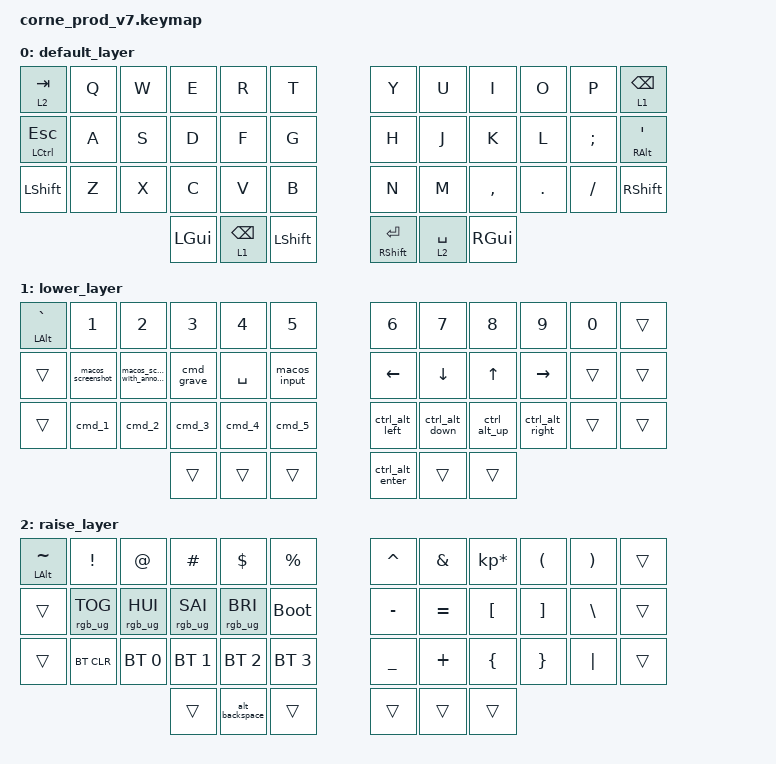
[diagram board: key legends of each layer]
/*
 * Copyright (c) 2020 The ZMK Contributors
 *
 * SPDX-License-Identifier: MIT
 *
 * Reference: https://zmk.dev/docs/keymaps/behaviors/key-press
 *
 */

#include <behaviors.dtsi>
#include <dt-bindings/zmk/keys.h>
#include <dt-bindings/zmk/bt.h>
#include <dt-bindings/zmk/rgb.h>

&led_strip {
    chain-length = <27>;
};

// Define the custom macro
// reference: https://zmk.dev/docs/keymaps/behaviors/macros
/ {
    macros {
        // switch input method
        macos_input: macos_input {
            compatible = "zmk,behavior-macro";
            #binding-cells = <0>;
            bindings
                = <&macro_press &kp LCTRL>
                , <&macro_press &kp LALT>
                , <&macro_tap &kp SPACE>
                , <&macro_release &kp LALT>
                , <&macro_release &kp LCTRL>
                ;
        };
        // alt_backspace ALT_BS
        alt_backspace: alt_backspace {
            compatible = "zmk,behavior-macro";
            #binding-cells = <0>;
            bindings
                = <&macro_press &kp LALT>
                , <&macro_tap &kp BSPC>
                , <&macro_release &kp LALT>
                ;
        };
        // MAC_SC
        macos_screenshot: macos_screenshot {
            compatible = "zmk,behavior-macro";
            #binding-cells = <0>;
            bindings
                = <&macro_press &kp LGUI>
                , <&macro_press &kp LCTRL>
                , <&macro_press &kp LSHFT>
                , <&macro_tap &kp N4>
                , <&macro_release &kp LSHFT>
                , <&macro_release &kp LCTRL>
                , <&macro_release &kp LGUI>
                ;
        };
        // MAC_SA
        macos_screenshot_with_annotation: macos_screenshot_with_annotation {
            compatible = "zmk,behavior-macro";
            #binding-cells = <0>;
            bindings
                = <&macro_press &kp LGUI>
                , <&macro_press &kp LSHFT>
                , <&macro_tap &kp N4>
                , <&macro_release &kp LSHFT>
                , <&macro_release &kp LGUI>
                ;
        };
        ctrl_alt_left: ctrl_alt_left {
            compatible = "zmk,behavior-macro";
            #binding-cells = <0>;
            bindings
                = <&macro_press &kp LCTRL>
                , <&macro_press &kp LALT>
                , <&macro_tap &kp LEFT>
                , <&macro_release &kp LALT>
                , <&macro_release &kp LCTRL>
                ;
        };
        ctrl_alt_right: ctrl_alt_right {
            compatible = "zmk,behavior-macro";
            #binding-cells = <0>;
            bindings
                = <&macro_press &kp LCTRL>
                , <&macro_press &kp LALT>
                , <&macro_tap &kp RIGHT>
                , <&macro_release &kp LALT>
                , <&macro_release &kp LCTRL>
                ;
        };
        ctrl_alt_up: ctrl_alt_up {
            compatible = "zmk,behavior-macro";
            #binding-cells = <0>;
            bindings
                = <&macro_press &kp LCTRL>
                , <&macro_press &kp LALT>
                , <&macro_tap &kp UP>
                , <&macro_release &kp LALT>
                , <&macro_release &kp LCTRL>
                ;
        };
        ctrl_alt_down: ctrl_alt_down {
            compatible = "zmk,behavior-macro";
            #binding-cells = <0>;
            bindings
                = <&macro_press &kp LCTRL>
                , <&macro_press &kp LALT>
                , <&macro_tap &kp DOWN>
                , <&macro_release &kp LALT>
                , <&macro_release &kp LCTRL>
                ;
        };
        ctrl_alt_enter: ctrl_alt_enter {
            compatible = "zmk,behavior-macro";
            #binding-cells = <0>;
            bindings
                = <&macro_press &kp LCTRL>
                , <&macro_press &kp LALT>
                , <&macro_tap &kp RET>
                , <&macro_release &kp LALT>
                , <&macro_release &kp LCTRL>
                ;
        };
        // cmd_grave
        cmd_grave: cmd_grave {
            compatible = "zmk,behavior-macro";
            #binding-cells = <0>;
            bindings
                = <&macro_press &kp LGUI>
                , <&macro_tap &kp GRAVE>
                , <&macro_release &kp LGUI>
                ;
        };
        // cmd_1
        cmd_1: cmd_1 {
            compatible = "zmk,behavior-macro";
            #binding-cells = <0>;
            bindings
                = <&macro_press &kp LGUI>
                , <&macro_tap &kp N1>
                , <&macro_release &kp LGUI>
                ;
        };
        // cmd_2
        cmd_2: cmd_2 {
            compatible = "zmk,behavior-macro";
            #binding-cells = <0>;
            bindings
                = <&macro_press &kp LGUI>
                , <&macro_tap &kp N2>
                , <&macro_release &kp LGUI>
                ;
        };
        // cmd_3
        cmd_3: cmd_3 {
            compatible = "zmk,behavior-macro";
            #binding-cells = <0>;
            bindings
                = <&macro_press &kp LGUI>
                , <&macro_tap &kp N3>
                , <&macro_release &kp LGUI>
                ;
        };
        // cmd_4
        cmd_4: cmd_4 {
            compatible = "zmk,behavior-macro";
            #binding-cells = <0>;
            bindings
                = <&macro_press &kp LGUI>
                , <&macro_tap &kp N4>
                , <&macro_release &kp LGUI>
                ;
        };
        // cmd_5
        cmd_5: cmd_5 {
            compatible = "zmk,behavior-macro";
            #binding-cells = <0>;
            bindings
                = <&macro_press &kp LGUI>
                , <&macro_tap &kp N5>
                , <&macro_release &kp LGUI>
                ;
        };
    };
};

/ {
        keymap {
                compatible = "zmk,keymap";

                default_layer {
// -----------------------------------------------------------------------------------------
// | TAB / RSE   |  Q  |  W  |  E   |  R         |  T   |     |  Y         |  U        |  I   |  O  |  P  | BSPC / LWR  |
// | ESC / LCTRL |  A  |  S  |  D   |  F         |  G   |     |  H         |  J        |  K   |  L  |  ;  | '    / RALT |
// | LSHFT       |  Z  |  X  |  C   |  V         |  B   |     |  N         |  M        |  ,   |  .  |  /  | RSHFT       |
//                           | LGUI | BSPC / LWR | SHFT |     | ENT / SHFT | SPC / RSE | RGUI |
                        bindings = <
   &lt 2 TAB     &kp Q &kp W    &kp E      &kp R     &kp T         &kp Y       &kp U    &kp I     &kp O   &kp P    &lt 1 BSPC
   &mt LCTRL ESC &kp A &kp S    &kp D      &kp F     &kp G         &kp H       &kp J    &kp K     &kp L   &kp SEMI &mt RALT SQT
   &kp LSHFT     &kp Z &kp X    &kp C      &kp V     &kp B         &kp N       &kp M    &kp COMMA &kp DOT &kp FSLH &kp RSHFT
                       &kp LGUI &lt 1 BSPC &kp LSHFT &mt RSHFT RET &lt 2 SPACE &kp RGUI
                        >;
                };
                lower_layer {
// -----------------------------------------------------------------------------------------
// | ` / LALT  |  1    |  2    |  3        |  4    |  5          |   |  6  |  7  | 8  |  9  |  0  |  |
// |           | MAC_SC| MAC_SA| cmd_grave | SPC   | macos_input |   | LFT | DWN | UP | RGT |     |  |
// |           | cmd_1 | cmd_2 | cmd_3     | cmd_4 | cmd_5       |   | ctrl_alt_left  | ctrl_alt_down | ctrl_alt_up | ctrl_alt_right |  |
//                             |           |       |             |   | ctrl_alt_enter |     |    |
                        bindings = <
   &mt LALT GRAVE &kp N1            &kp N2                            &kp N3     &kp N4       &kp N5       &kp N6          &kp N7         &kp N8       &kp N9          &kp N0 &trans
   &trans         &macos_screenshot &macos_screenshot_with_annotation &cmd_grave &kp SPACE    &macos_input &kp LEFT        &kp DOWN       &kp UP        &kp RIGHT      &trans &trans
   &trans         &cmd_1            &cmd_2                            &cmd_3     &cmd_4       &cmd_5       &ctrl_alt_left  &ctrl_alt_down &ctrl_alt_up &ctrl_alt_right &trans &trans
                                                                      &trans     &trans       &trans       &ctrl_alt_enter &trans         &trans
                        >;
                };
                raise_layer {
// -----------------------------------------------------------------------------------------
// | ~ / LALT |   !   |   @   |   #   |   $   |   %   |   |  ^  |  &  |  *  |  (  |  )  | |
// |          |RGB_TOG|RGB_HUI|RGB_SAI|RGB_VAI|QK_BOOT|   |  -  |  =  |  [  |  ]  |  \  | |
// |          | BTCLR | BT0   | BT1   |BT2    | BT3   |   |  _  |  +  |  {  |  }  | "|" | |
//                            |       |ALT_BS |       |   |     |     |     |
                        bindings = <
   &mt LALT TILDE &kp EXCL        &kp AT          &kp HASH        &kp DLLR        &kp PRCNT    &kp CARET &kp AMPS  &kp KP_MULTIPLY &kp LPAR &kp RPAR &trans
   &trans         &rgb_ug RGB_TOG &rgb_ug RGB_HUI &rgb_ug RGB_SAI &rgb_ug RGB_BRI &bootloader  &kp MINUS &kp EQUAL &kp LBKT        &kp RBKT &kp BSLH &trans
   &trans         &bt BT_CLR      &bt BT_SEL 0    &bt BT_SEL 1    &bt BT_SEL 2    &bt BT_SEL 3 &kp UNDER &kp PLUS  &kp LBRC        &kp RBRC &kp PIPE &trans
                                                  &trans          &alt_backspace  &trans       &trans    &trans   &trans
                        >;
                };
        };
};
